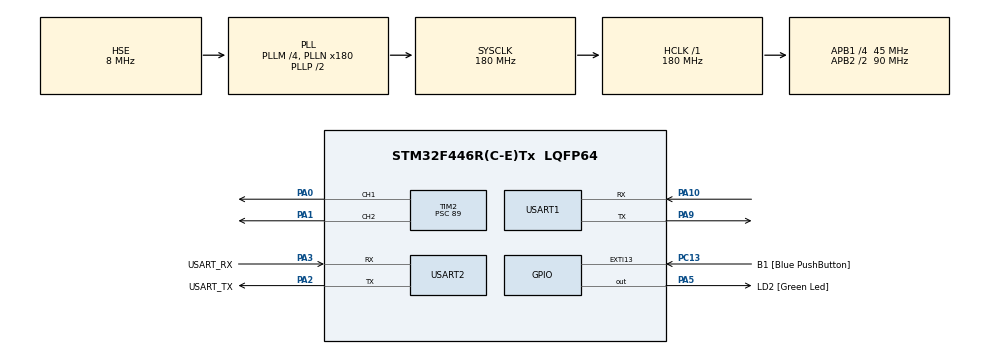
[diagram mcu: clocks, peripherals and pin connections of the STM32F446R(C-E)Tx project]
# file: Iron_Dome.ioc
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Mcu.Family=STM32F4
Mcu.Name=STM32F446R(C-E)Tx
Mcu.Package=LQFP64
NVIC.PriorityGroup=NVIC_PRIORITYGROUP_0
NVIC.USART1_IRQn=true\:0\:0\:false\:false\:true\:true\:true\:true
PA0-WKUP.Signal=S_TIM2_CH1_ETR
PA1.Signal=S_TIM2_CH2
PA10.Mode=Asynchronous
PA10.Signal=USART1_RX
PA13.GPIO_Label=TMS
PA13.Mode=Serial_Wire
PA13.Signal=SYS_JTMS-SWDIO
PA14.GPIO_Label=TCK
PA14.Mode=Serial_Wire
PA14.Signal=SYS_JTCK-SWCLK
PA2.GPIO_Label=USART_TX
PA2.Mode=Asynchronous
PA2.Signal=USART2_TX
PA3.GPIO_Label=USART_RX
PA3.Mode=Asynchronous
PA3.Signal=USART2_RX
PA5.GPIO_Label=LD2 [Green Led]
PA5.Signal=GPIO_Output
PA9.Mode=Asynchronous
PA9.Signal=USART1_TX
PB3.GPIO_Label=SWO
PB3.Signal=SYS_JTDO-SWO
PC13.GPIO_Label=B1 [Blue PushButton]
PC13.GPIO_ModeDefaultEXTI=GPIO_MODE_IT_FALLING
PC13.Signal=GPXTI13
PC14-OSC32_IN.Mode=LSE-External-Oscillator
PC14-OSC32_IN.Signal=RCC_OSC32_IN
PC15-OSC32_OUT.Mode=LSE-External-Oscillator
PC15-OSC32_OUT.Signal=RCC_OSC32_OUT
PH0-OSC_IN.Mode=HSE-External-Clock-Source
PH0-OSC_IN.Signal=RCC_OSC_IN
PH1-OSC_OUT.Mode=HSE-External-Clock-Source
PH1-OSC_OUT.Signal=RCC_OSC_OUT
ProjectManager.HeapSize=0x200
ProjectManager.StackSize=0x400
ProjectManager.TargetToolchain=STM32CubeIDE
RCC.48MHZClocksFreq_Value=84000000
RCC.AHBFreq_Value=180000000
RCC.APB1CLKDivider=RCC_HCLK_DIV4
RCC.APB1Freq_Value=45000000
RCC.APB1TimFreq_Value=90000000
RCC.APB2CLKDivider=RCC_HCLK_DIV2
RCC.APB2Freq_Value=90000000
RCC.APB2TimFreq_Value=180000000
RCC.CortexFreq_Value=180000000
RCC.FLatency-AdvancedSettings=FLASH_LATENCY_5
RCC.HCLKFreq_Value=180000000
RCC.HSE_VALUE=8000000
RCC.HSI_VALUE=16000000
RCC.PLLM=4
RCC.PLLN=180
RCC.PLLSourceVirtual=RCC_PLLSOURCE_HSE
RCC.SYSCLKFreq_VALUE=180000000
RCC.SYSCLKSource=RCC_SYSCLKSOURCE_PLLCLK
RCC.USBFreq_Value=180000000
RCC.VCOOutputFreq_Value=360000000
SH.S_TIM2_CH1_ETR.0=TIM2_CH1,PWM Generation1 CH1
SH.S_TIM2_CH2.0=TIM2_CH2,PWM Generation2 CH2
TIM2.AutoReloadPreload=TIM_AUTORELOAD_PRELOAD_ENABLE
TIM2.Channel-PWM\ Generation1\ CH1=TIM_CHANNEL_1
TIM2.Channel-PWM\ Generation2\ CH2=TIM_CHANNEL_2
TIM2.Period=19999
TIM2.Prescaler=89
TIM2.Pulse-PWM\ Generation1\ CH1=1500
TIM2.Pulse-PWM\ Generation2\ CH2=1500
USART1.VirtualMode=VM_ASYNC
USART2.VirtualMode=VM_ASYNC
VP_TIM2_VS_ClockSourceINT.Mode=Internal
board=NUCLEO-F446RE

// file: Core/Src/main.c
/* USER CODE BEGIN Header */
/**
 ******************************************************************************
 * @file           : main.c
 * @brief          : Main program body
 ******************************************************************************
 * @attention
 *
 * Copyright (c) 2026 STMicroelectronics.
 * All rights reserved.
 *
 * This software is licensed under terms that can be found in the LICENSE file
 * in the root directory of this software component.
 * If no LICENSE file comes with this software, it is provided AS-IS.
 *
 ******************************************************************************
 */
/* USER CODE END Header */
#include "main.h"
#include "detect.h"
#include "stm32f4xx_hal.h"
#include "tim.h"
#include "usart.h"
#include "gpio.h"

/* USER CODE BEGIN Includes */
#include <stdint.h>
#include <stdio.h>
#include <stdbool.h>
#include "servo.h"
#include "tfluna.h"
#include "detect.h"
/* USER CODE END Includes */

/* USER CODE BEGIN PD */
#define SCAN_DWELL_MS      50      // Servo settle time before next reading
#define TEMP_TRIP_C        60.0f   // Halt scanning at or above this
#define TEMP_CLEAR_C       55.0f   // Resume scanning at or below this
#define WARN_INTERVAL_MS   1000    // How often to print the halt warning
#define SCAN_TILT 0   /* 1 = tilt raster on, 0 = level-only scanning */

/* USER CODE END PD */

void SystemClock_Config(void);
/* USER CODE BEGIN PFP */
bool elapsed(uint32_t *last, uint32_t interval);
int _write(int file,char *ptr, int len);
/* USER CODE END PFP */

int main(void)
{

  /* MCU Configuration--------------------------------------------------------*/

  /* Reset of all peripherals, Initializes the Flash interface and the Systick. */
  HAL_Init();

  /* Configure the system clock */
  SystemClock_Config();

  /* Initialize all configured peripherals */
  MX_GPIO_Init();
  MX_TIM2_Init();
  MX_USART2_UART_Init();
  MX_USART1_UART_Init();
  /* USER CODE BEGIN 2 */
servo_init();
tfluna_init();

/* USER CODE END 2 */

  /* Infinite loop */
  /* USER CODE BEGIN WHILE */
		while (1) {

    /* Static so they survive between iterations. The loop body runs
       thousands of times a second; the timed block inside is what actually
       steps the scan. */

    static bool halted=false;
    static float    pan_angle     = 0.0f;
    static float    pan_step      = PAN_STEP_DEG;
    static uint32_t pan_last_move = 0;
    static uint32_t warn_last=0;

    static float tilt_angle = TILT_LEVEL;
    #if SCAN_TILT
    static float tilt_step  = TILT_STEP_DEG;
    #endif

    bool reversed = false;

    /* 50 ms is measured, not chosen. A servo commanded to a new angle is
       still travelling when the next reading arrives, so the reading
       belongs to a position the code has already left. The error shows up
       as a sharp edge landing at different bearings depending on sweep
       direction: 40 ms gives 6 degrees of split, 45 gives 4, 50 gives 2,
       65 gives none. 50 is the fastest interval holding the split within
       one 2-degree step, which is the floor either way. */

    /* Two thresholds, not one. The TF-Luna's ceiling is 60 C and it runs
         43-52 in normal operation, so a single threshold would flap on and
         off at the boundary. Trips at 60, clears at 55; between the two it
         holds whatever state it's in. */

    if (elapsed(&pan_last_move, SCAN_DWELL_MS)) {
      float temp_c=tfluna_temperature();
      if(temp_c>=TEMP_TRIP_C){
        halted=true;
    }
    if(temp_c<=TEMP_CLEAR_C){
      halted=false;
    }

    if (halted){
      if (elapsed(&warn_last, WARN_INTERVAL_MS)){
      printf("WARNING: TF-Luna at %d C, SCANNING HALTED\r\n",
      (int)temp_c);
    }
  }
    else{

        tfluna_reading_t current_reading= tfluna_read();

      uint16_t distance=current_reading.distance;
      bool valid=current_reading.valid;

        /* Report before commanding. At this point pan_angle is still the
           angle the head has been parked at for the last 50 ms, so the
           reading and the label match. Printing after the move would
           attach each reading to the position it was heading toward
           rather than the one it came from. */
        printf("%d,%d,%d,%d,%d\r\n",
          (int)pan_angle,
          (int)tilt_angle,
          distance,
          (int)temp_c,
          valid);

        if (valid) {
          uint16_t  true_bearing=pan_angle;

        if(pan_step<0){
          true_bearing=pan_angle+PAN_DOWN_CORR_DEG;
        }

          bool run_closed=detect_feed((int)true_bearing, distance,HAL_GetTick());

          if (run_closed) {
            detection_t newest_detection = detect_latest();
            if (newest_detection.found) {
              printf("DET,%d,%d,%u\r\n", (int)newest_detection.bearing,
                     newest_detection.distance, newest_detection.width);
            }
          }
        }
        pan_angle += pan_step;
        servo_write(pan_angle, 'p');

        /* Limit test after the command, so the angle written is always the
           limit itself and never one step past it. */
        if (pan_angle >= PAN_MAX) {
            pan_step = -pan_step;
            reversed = true;
        }
        if (pan_angle <= PAN_MIN) {
            pan_step = -pan_step;
            reversed = true;
        }

        /* Tilt advances once per completed pan sweep, giving stacked
           horizontal rows rather than the diagonal smear you get from
           stepping both axes together. Step stays at 3 degrees: the beam
           is about 2 wide, so a larger step would leave unscanned gaps
           between rows. */
           #if SCAN_TILT
        if (reversed) {
          servo_write(tilt_angle, 't');

          tilt_angle += tilt_step;
          if (tilt_angle >= SCAN_TILT_MAX) {
            tilt_angle = SCAN_TILT_MAX;
            tilt_step = -tilt_step;
          }
          if (tilt_angle <= SCAN_TILT_MIN) {
            tilt_angle = SCAN_TILT_MIN;
            tilt_step = -tilt_step;
          }
        }
        #endif
        if(reversed){
          detect_sweep_end();
          detection_t detections[MAX_OBJECTS];
          uint8_t sus_objects;

          sus_objects=detect_result(detections, MAX_OBJECTS);

          for(uint8_t i=0;i<sus_objects;i++){
            printf("DET,%d,%d,%u\r\n",
            (int)detections[i].bearing,
            detections[i].distance,
            detections[i].width);
          }
        }
    }
  }
	}

    /* USER CODE END WHILE */

}

void SystemClock_Config(void)
{
  RCC_OscInitTypeDef RCC_OscInitStruct = {0};
  RCC_ClkInitTypeDef RCC_ClkInitStruct = {0};

  /** Configure the main internal regulator output voltage
  */
  __HAL_RCC_PWR_CLK_ENABLE();
  __HAL_PWR_VOLTAGESCALING_CONFIG(PWR_REGULATOR_VOLTAGE_SCALE1);

  /** Initializes the RCC Oscillators according to the specified parameters
  * in the RCC_OscInitTypeDef structure.
  */
  RCC_OscInitStruct.OscillatorType = RCC_OSCILLATORTYPE_HSE;
  RCC_OscInitStruct.HSEState = RCC_HSE_BYPASS;
  RCC_OscInitStruct.PLL.PLLState = RCC_PLL_ON;
  RCC_OscInitStruct.PLL.PLLSource = RCC_PLLSOURCE_HSE;
  RCC_OscInitStruct.PLL.PLLM = 4;
  RCC_OscInitStruct.PLL.PLLN = 180;
  RCC_OscInitStruct.PLL.PLLP = RCC_PLLP_DIV2;
  RCC_OscInitStruct.PLL.PLLQ = 2;
  RCC_OscInitStruct.PLL.PLLR = 2;
  if (HAL_RCC_OscConfig(&RCC_OscInitStruct) != HAL_OK)
  {
    Error_Handler();
  }

  /** Activate the Over-Drive mode
  */
  if (HAL_PWREx_EnableOverDrive() != HAL_OK)
  {
    Error_Handler();
  }

  /** Initializes the CPU, AHB and APB buses clocks
  */
  RCC_ClkInitStruct.ClockType = RCC_CLOCKTYPE_HCLK|RCC_CLOCKTYPE_SYSCLK
                              |RCC_CLOCKTYPE_PCLK1|RCC_CLOCKTYPE_PCLK2;
  RCC_ClkInitStruct.SYSCLKSource = RCC_SYSCLKSOURCE_PLLCLK;
  RCC_ClkInitStruct.AHBCLKDivider = RCC_SYSCLK_DIV1;
  RCC_ClkInitStruct.APB1CLKDivider = RCC_HCLK_DIV4;
  RCC_ClkInitStruct.APB2CLKDivider = RCC_HCLK_DIV2;

  if (HAL_RCC_ClockConfig(&RCC_ClkInitStruct, FLASH_LATENCY_5) != HAL_OK)
  {
    Error_Handler();
  }
}

/* USER CODE BEGIN 4 */

/* Non-blocking interval timer. Takes a pointer so each caller keeps its own
   schedule in the same loop — no blocking delays anywhere in normal
   operation. Everything stays uint32_t deliberately: HAL_GetTick wraps
   after about 49 days, and unsigned subtraction wraps with it, so the
   elapsed time stays correct across the rollover. Storing the result in a
   signed type would make the comparison fail permanently. */

bool elapsed(uint32_t *last, uint32_t interval) {
  uint32_t now_ms=HAL_GetTick();
	if (now_ms - *last >= interval) {
		*last = now_ms;
		return true;
	} else
		return false;
}

/* printf retarget. newlib calls _write for stdout, so this puts printf on
   USART2 and the ST-Link virtual COM port. Blocking: a 20-character CSV
   line is about 1.7 ms at 115200, which sits inside the 50 ms budget but
   is real time spent, and it grows if fields are added. */

int _write(int file,char *ptr, int len){
	HAL_UART_Transmit(&huart2,(uint8_t *)ptr,len,5);
	return len;
}
/* USER CODE END 4 */

void Error_Handler(void)
{
	__disable_irq();
	while (1) {
	}
}
